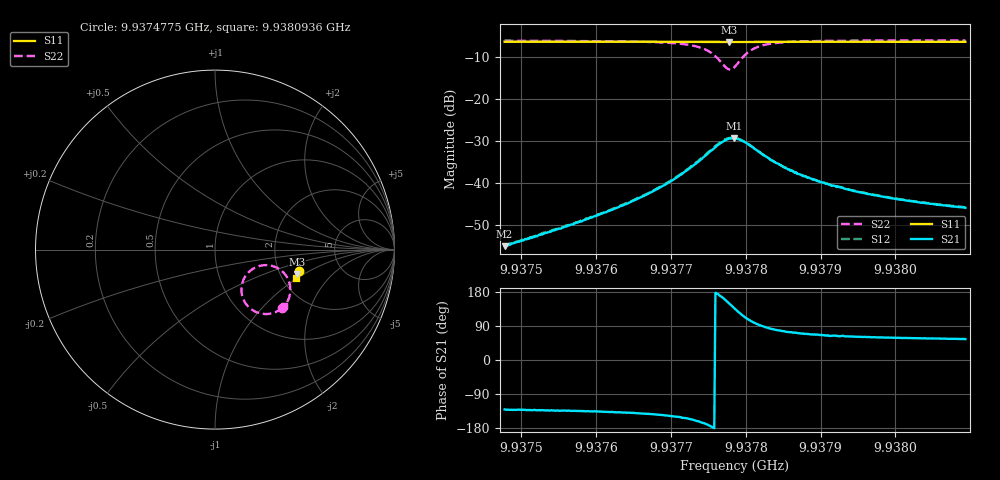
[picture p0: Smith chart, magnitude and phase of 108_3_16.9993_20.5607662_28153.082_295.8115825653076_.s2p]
#  HZ  S  RI  R  50.00
! Rohde & Schwarz Vector Network Analyzer
! Rohde-Schwarz,ZNB20-2Port,1311601062101988,3.16
! Created: UTC 3/20/2024, 10:56:56 PM
! freq[Hz]  re:S11  im:S11  re:S21  im:S21  re:S12  im:S12  re:S22  im:S22
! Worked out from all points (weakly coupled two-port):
!   401 points, 9.9374775 GHz to 9.9380936 GHz, reference 50 ohm
!   highest |S21| = -29.37 dB at 9.9377841 GHz (marker M1); lowest = -55.1 dB at 9.9374775 GHz (marker M2)
!   lowest |S11| = -6.4 dB at 9.9377779 GHz (marker M3), VSWR 2.83, Z = 123 - j43.5 ohm
!   |S11| at or under -10 dB: nowhere
!   |S22| runs from -13.0 to -6.0 dB; largest |S21 - S12| = 0.0018
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9.93747755e9  0.468 -0.1178  -0.00113 -0.00134  -0.00122 -0.00133  0.3757 -0.3241
9.93751759e9  0.4671 -0.1207  -0.00149 -0.00169  -0.00158 -0.00167  0.3706 -0.3284
9.93758074e9  0.4658 -0.1249  -0.00243 -0.00246  -0.00255 -0.00248  0.3588 -0.3365
9.93763927e9  0.4641 -0.1289  -0.00419 -0.00364  -0.00431 -0.00363  0.3405 -0.3467
9.93768394e9  0.463 -0.1321  -0.00704 -0.005  -0.00726 -0.005  0.3137 -0.3559
9.93771166e9  0.4619 -0.1341  -0.0107 -0.00601  -0.011 -0.00584  0.2817 -0.3592
9.93774247e9  0.46 -0.1362  -0.0193 -0.00479  -0.0197 -0.00457  0.2127 -0.3393
9.93775479e9  0.4592 -0.1366  -0.0245 -0.00135  -0.0254 -0.000872  0.1734 -0.3037
9.93776557e9  0.4581 -0.1367  -0.0288 0.00552  -0.0296 0.00646  0.1484 -0.2425
9.93777327e9  0.4577 -0.1364  -0.0298 0.0123  -0.0301 0.0141  0.1531 -0.1825
9.93777789e9  0.4576 -0.1361  -0.0287 0.0174  -0.0285 0.0189  0.1704 -0.1465
9.93778406e9  0.4579 -0.1358  -0.0251 0.0229  -0.0244 0.0244  0.2092 -0.1083
9.9377856e9  0.4579 -0.1357  -0.0239 0.0239  -0.0232 0.0255  0.2208 -0.1017
9.9377933e9  0.4584 -0.1357  -0.0168 0.0275  -0.0159 0.0286  0.282 -0.0864
9.93780254e9  0.4592 -0.136  -0.00893 0.0277  -0.00804 0.0281  0.3431 -0.1001
9.93781024e9  0.4596 -0.1366  -0.0042 0.0259  -0.00337 0.026  0.3767 -0.1232
9.93781948e9  0.4599 -0.1374  -0.000608 0.0228  0.000216 0.0229  0.4005 -0.1523
9.93785337e9  0.4597 -0.1405  0.00401 0.0144  0.00437 0.0145  0.4198 -0.2249
9.93788879e9  0.459 -0.1434  0.00421 0.0102  0.00447 0.01  0.4148 -0.2606
9.93793346e9  0.4582 -0.1465  0.00392 0.00747  0.00405 0.00744  0.4063 -0.2834
9.93799199e9  0.4564 -0.1505  0.00343 0.00568  0.00354 0.00566  0.3972 -0.2999
9.93809365e9  0.4538 -0.1571  0.00286 0.00411  0.00298 0.00414  0.3856 -0.316
